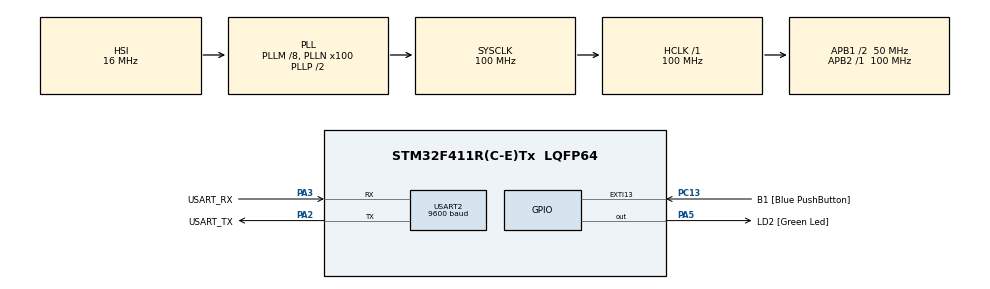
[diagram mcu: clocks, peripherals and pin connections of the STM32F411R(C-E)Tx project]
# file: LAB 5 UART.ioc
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Mcu.Family=STM32F4
Mcu.Name=STM32F411R(C-E)Tx
Mcu.Package=LQFP64
NVIC.EXTI15_10_IRQn=true\:0\:0\:false\:false\:true\:true\:true\:true
NVIC.PriorityGroup=NVIC_PRIORITYGROUP_0
NVIC.USART2_IRQn=true\:0\:0\:false\:false\:true\:true\:true\:true
PA13.GPIO_Label=TMS
PA13.Mode=Serial_Wire
PA13.Signal=SYS_JTMS-SWDIO
PA14.GPIO_Label=TCK
PA14.Mode=Serial_Wire
PA14.Signal=SYS_JTCK-SWCLK
PA2.GPIO_Label=USART_TX
PA2.Mode=Asynchronous
PA2.Signal=USART2_TX
PA3.GPIO_Label=USART_RX
PA3.Mode=Asynchronous
PA3.Signal=USART2_RX
PA5.GPIO_Label=LD2 [Green Led]
PA5.Signal=GPIO_Output
PB3.GPIO_Label=SWO
PB3.Signal=SYS_JTDO-SWO
PC13-ANTI_TAMP.GPIO_Label=B1 [Blue PushButton]
PC13-ANTI_TAMP.GPIO_ModeDefaultEXTI=GPIO_MODE_IT_RISING_FALLING
PC13-ANTI_TAMP.GPIO_PuPd=GPIO_NOPULL
PC13-ANTI_TAMP.Signal=GPXTI13
PC14-OSC32_IN.Mode=LSE-External-Oscillator
PC14-OSC32_IN.Signal=RCC_OSC32_IN
PC15-OSC32_OUT.Mode=LSE-External-Oscillator
PC15-OSC32_OUT.Signal=RCC_OSC32_OUT
PH0\ -\ OSC_IN.Mode=HSE-External-Clock-Source
PH0\ -\ OSC_IN.Signal=RCC_OSC_IN
PH1\ -\ OSC_OUT.Mode=HSE-External-Clock-Source
PH1\ -\ OSC_OUT.Signal=RCC_OSC_OUT
ProjectManager.HeapSize=0x200
ProjectManager.StackSize=0x400
ProjectManager.TargetToolchain=STM32CubeIDE
RCC.48MHZClocksFreq_Value=50000000
RCC.AHBFreq_Value=100000000
RCC.APB1CLKDivider=RCC_HCLK_DIV2
RCC.APB1Freq_Value=50000000
RCC.APB1TimFreq_Value=100000000
RCC.APB2Freq_Value=100000000
RCC.APB2TimFreq_Value=100000000
RCC.CortexFreq_Value=100000000
RCC.FLatency-AdvancedSettings=FLASH_LATENCY_3
RCC.HCLKFreq_Value=100000000
RCC.HSE_VALUE=8000000
RCC.HSI_VALUE=16000000
RCC.PLLM=8
RCC.PLLN=100
RCC.SYSCLKFreq_VALUE=100000000
RCC.SYSCLKSource=RCC_SYSCLKSOURCE_PLLCLK
RCC.VCOOutputFreq_Value=200000000
USART2.BaudRate=9600
USART2.VirtualMode=VM_ASYNC
board=NUCLEO-F411RE

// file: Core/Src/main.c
/* USER CODE BEGIN Header */
/**
 ******************************************************************************
 * @file           : main.c
 * @brief          : Main program body
 ******************************************************************************
 * @attention
 *
 * Copyright (c) 2023 STMicroelectronics.
 * All rights reserved.
 *
 * This software is licensed under terms that can be found in the LICENSE file
 * in the root directory of this software component.
 * If no LICENSE file comes with this software, it is provided AS-IS.
 *
 ******************************************************************************
 */
/* USER CODE END Header */
#include "main.h"

/* USER CODE BEGIN Includes */

#include "stdio.h"
#include "string.h"

/* USER CODE END Includes */

UART_HandleTypeDef huart2;

/* USER CODE BEGIN PV */

uint8_t RxBuffer[1];
uint8_t TxBuffer[40];
uint8_t queue = 0;
uint8_t mode = 0;

uint8_t ledtoggle = 1;
int32_t ledhz = 5;

/* USER CODE END PV */

void SystemClock_Config(void);
static void MX_GPIO_Init(void);
static void MX_USART2_UART_Init(void);

int main(void)
{

  /* MCU Configuration--------------------------------------------------------*/

  /* Reset of all peripherals, Initializes the Flash interface and the Systick. */
  HAL_Init();

  /* Configure the system clock */
  SystemClock_Config();

  /* Initialize all configured peripherals */
  MX_GPIO_Init();
  MX_USART2_UART_Init();
  /* USER CODE BEGIN 2 */

	uint8_t text[] = "\033[2J\033[H\rHELLO! Welcome to simple menu.\n\rPress 0 for LED Control.\n\rPress 1 for Button Status.\n\r";
	HAL_UART_Transmit(&huart2, text, strlen((char*) text), HAL_MAX_DELAY);
	HAL_UART_Receive_IT(&huart2, RxBuffer, 1);

  /* USER CODE END 2 */

  /* Infinite loop */
  /* USER CODE BEGIN WHILE */
	while (1) {
		if (queue) {
			queue = 0;
			HAL_UART_Transmit(&huart2, "\033[2J\033[H\rYou pressed: ", 21, HAL_MAX_DELAY);
			HAL_UART_Transmit(&huart2, RxBuffer, 1, HAL_MAX_DELAY);
			HAL_UART_Transmit(&huart2, ". ", 2, HAL_MAX_DELAY);

			switch (mode) {
			case 0: // MENU
				if (RxBuffer[0] == '0') {
					mode = 1;
				} else if (RxBuffer[0] == '1') {
					mode = 2;
				} else {
					HAL_UART_Transmit(&huart2, "WRONG BUTTON!", 13, HAL_MAX_DELAY);
				}
				break;
			case 1: // LED
				if (RxBuffer[0] == 'x') {
					// back
					mode = 0;
				} else if (RxBuffer[0] == 'a') {
					// increase
					ledhz++;
				} else if (RxBuffer[0] == 's') {
					// decrease
					ledhz--;
					if (ledhz < 1) {
						ledhz = 1;
					}
				} else if (RxBuffer[0] == 'd') {
					// toggle
					ledtoggle = !ledtoggle;
				} else {
					HAL_UART_Transmit(&huart2, "WRONG BUTTON!", 13, HAL_MAX_DELAY);
				}
				break;
			case 2: // BUTTON
				if (RxBuffer[0] == 'x') {
					// back
					mode = 0;
				} else {
					HAL_UART_Transmit(&huart2, "WRONG BUTTON!", 13, HAL_MAX_DELAY);
				}
				break;
			}

			if (mode == 0) {
				// MENU
				uint8_t text[] = "\n\r\n=====\tMENU\t=====\n\rPress 0 for LED Control.\n\rPress 1 for Button Status.\n\r";
				HAL_UART_Transmit(&huart2, text, strlen((char*) text), HAL_MAX_DELAY);
			} else if (mode == 1) {
				// LED
				uint8_t text[] = "\n\r\n=====\tLED\t=====\n\ra: Increase Speed.\n\rs: Decrease Speed\n\rd: Toggle LED\n\r\nx: Back\n\r";
				HAL_UART_Transmit(&huart2, text, strlen((char*) text), HAL_MAX_DELAY);

				if (ledtoggle) {
					sprintf((char*) TxBuffer, "\n\rThe current LED speed is %i Hz.", ledhz);
					HAL_UART_Transmit(&huart2, TxBuffer, strlen((char*) TxBuffer), HAL_MAX_DELAY);
				} else {
					uint8_t text[] = "\n\rThe LED is OFF.";
					HAL_UART_Transmit(&huart2, text, strlen((char*) text), HAL_MAX_DELAY);
				}
			} else {
				// BUTTON
				uint8_t text[] = "\n\r\n=====\tBTTN\t=====\n\r\nx: Back\n\r\n";
				HAL_UART_Transmit(&huart2, text, strlen((char*) text), HAL_MAX_DELAY);
			}

		}

		// Loop logic
		static uint32_t timestamp = 0;
		if (HAL_GetTick() >= timestamp) {
			timestamp = HAL_GetTick() + 500 / ledhz;
			if (ledtoggle) {
				HAL_GPIO_TogglePin(LD2_GPIO_Port, LD2_Pin);
			} else {
				HAL_GPIO_WritePin(LD2_GPIO_Port, LD2_Pin, RESET);
			}
		}
    /* USER CODE END WHILE */

	}
}

void SystemClock_Config(void)
{
  RCC_OscInitTypeDef RCC_OscInitStruct = {0};
  RCC_ClkInitTypeDef RCC_ClkInitStruct = {0};

  /** Configure the main internal regulator output voltage
  */
  __HAL_RCC_PWR_CLK_ENABLE();
  __HAL_PWR_VOLTAGESCALING_CONFIG(PWR_REGULATOR_VOLTAGE_SCALE1);

  /** Initializes the RCC Oscillators according to the specified parameters
  * in the RCC_OscInitTypeDef structure.
  */
  RCC_OscInitStruct.OscillatorType = RCC_OSCILLATORTYPE_HSI;
  RCC_OscInitStruct.HSIState = RCC_HSI_ON;
  RCC_OscInitStruct.HSICalibrationValue = RCC_HSICALIBRATION_DEFAULT;
  RCC_OscInitStruct.PLL.PLLState = RCC_PLL_ON;
  RCC_OscInitStruct.PLL.PLLSource = RCC_PLLSOURCE_HSI;
  RCC_OscInitStruct.PLL.PLLM = 8;
  RCC_OscInitStruct.PLL.PLLN = 100;
  RCC_OscInitStruct.PLL.PLLP = RCC_PLLP_DIV2;
  RCC_OscInitStruct.PLL.PLLQ = 4;
  if (HAL_RCC_OscConfig(&RCC_OscInitStruct) != HAL_OK)
  {
    Error_Handler();
  }

  /** Initializes the CPU, AHB and APB buses clocks
  */
  RCC_ClkInitStruct.ClockType = RCC_CLOCKTYPE_HCLK|RCC_CLOCKTYPE_SYSCLK
                              |RCC_CLOCKTYPE_PCLK1|RCC_CLOCKTYPE_PCLK2;
  RCC_ClkInitStruct.SYSCLKSource = RCC_SYSCLKSOURCE_PLLCLK;
  RCC_ClkInitStruct.AHBCLKDivider = RCC_SYSCLK_DIV1;
  RCC_ClkInitStruct.APB1CLKDivider = RCC_HCLK_DIV2;
  RCC_ClkInitStruct.APB2CLKDivider = RCC_HCLK_DIV1;

  if (HAL_RCC_ClockConfig(&RCC_ClkInitStruct, FLASH_LATENCY_3) != HAL_OK)
  {
    Error_Handler();
  }
}

static void MX_USART2_UART_Init(void)
{

  huart2.Instance = USART2;
  huart2.Init.BaudRate = 9600;
  huart2.Init.WordLength = UART_WORDLENGTH_8B;
  huart2.Init.StopBits = UART_STOPBITS_1;
  huart2.Init.Parity = UART_PARITY_NONE;
  huart2.Init.Mode = UART_MODE_TX_RX;
  huart2.Init.HwFlowCtl = UART_HWCONTROL_NONE;
  huart2.Init.OverSampling = UART_OVERSAMPLING_16;
  if (HAL_UART_Init(&huart2) != HAL_OK)
  {
    Error_Handler();
  }

}

static void MX_GPIO_Init(void)
{
  GPIO_InitTypeDef GPIO_InitStruct = {0};

  /* GPIO Ports Clock Enable */
  __HAL_RCC_GPIOC_CLK_ENABLE();
  __HAL_RCC_GPIOH_CLK_ENABLE();
  __HAL_RCC_GPIOA_CLK_ENABLE();
  __HAL_RCC_GPIOB_CLK_ENABLE();

  /*Configure GPIO pin Output Level */
  HAL_GPIO_WritePin(LD2_GPIO_Port, LD2_Pin, GPIO_PIN_RESET);

  /*Configure GPIO pin : B1_Pin */
  GPIO_InitStruct.Pin = B1_Pin;
  GPIO_InitStruct.Mode = GPIO_MODE_IT_RISING_FALLING;
  GPIO_InitStruct.Pull = GPIO_NOPULL;
  HAL_GPIO_Init(B1_GPIO_Port, &GPIO_InitStruct);

  /*Configure GPIO pin : LD2_Pin */
  GPIO_InitStruct.Pin = LD2_Pin;
  GPIO_InitStruct.Mode = GPIO_MODE_OUTPUT_PP;
  GPIO_InitStruct.Pull = GPIO_NOPULL;
  GPIO_InitStruct.Speed = GPIO_SPEED_FREQ_LOW;
  HAL_GPIO_Init(LD2_GPIO_Port, &GPIO_InitStruct);

  /* EXTI interrupt init*/
  HAL_NVIC_SetPriority(EXTI15_10_IRQn, 0, 0);
  HAL_NVIC_EnableIRQ(EXTI15_10_IRQn);

}

/* USER CODE BEGIN 4 */

void HAL_UART_RxCpltCallback(UART_HandleTypeDef *huart) {
	if (huart == &huart2) {
		queue = 1;

		// receive next char
		HAL_UART_Receive_IT(&huart2, RxBuffer, 1);
	}
}

void HAL_GPIO_EXTI_Callback(uint16_t GPIO_Pin) {
	if (GPIO_Pin == GPIO_PIN_13 && mode == 2) {
		if (HAL_GPIO_ReadPin(B1_GPIO_Port, B1_Pin)) {
			uint8_t text[] = "\rThe Button is UP.  ";
			HAL_UART_Transmit(&huart2, text, strlen((char*) text), HAL_MAX_DELAY);
		} else {
			uint8_t text[] = "\rThe Button is DOWN.";
			HAL_UART_Transmit(&huart2, text, strlen((char*) text), HAL_MAX_DELAY);
		}
	}
}

/* USER CODE END 4 */

void Error_Handler(void)
{
	__disable_irq();
	while (1) {
	}
}
